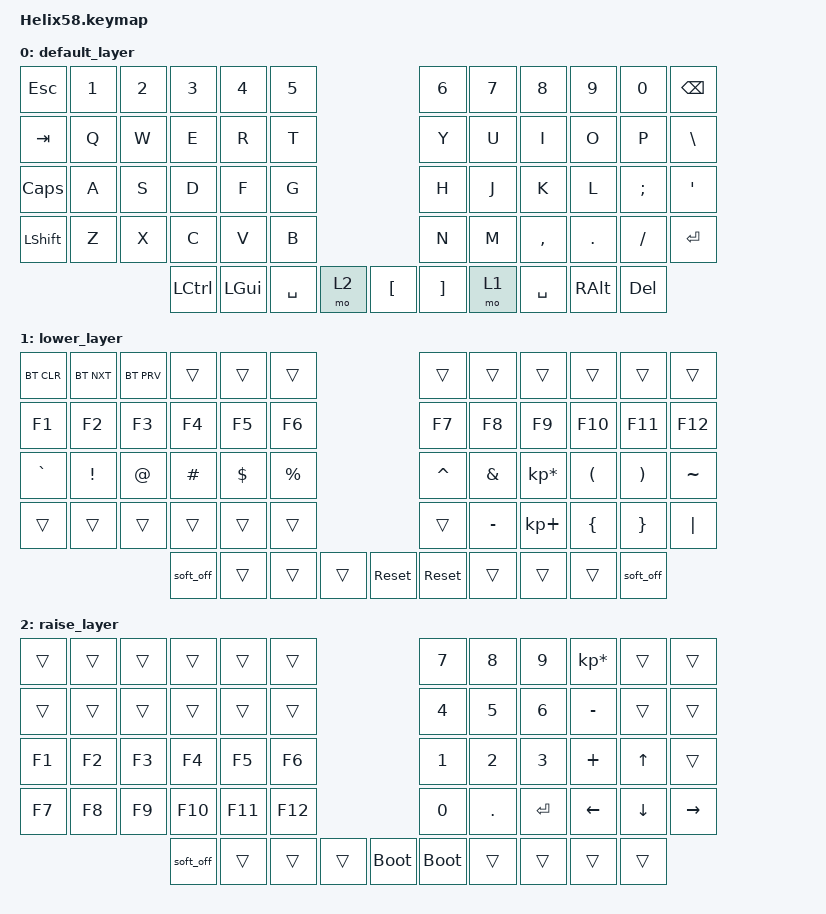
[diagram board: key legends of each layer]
#include <behaviors.dtsi>
#include <dt-bindings/zmk/keys.h>
#include <dt-bindings/zmk/bt.h>
#define DEFAULT 0
#define LOWER   1
#define RAISE   2


/ {
    keymap {
        compatible = "zmk,keymap";

        default_layer {
// ------------------------------------------------------------------------------------------------------------
// |  ESC  |  1  |  2  |  3   |  4   |  5   |                   |  6   |  7    |  8    |  9   |   0   |  BSPC |
// |  TAB  |  Q  |  W  |  E   |  R   |  T   |                   |  Y   |  U    |  I    |  O   |   P   |   \   |
// |  CAPS |  A  |  S  |  D   |  F   |  G   |                   |  H   |  J    |  K    |  L   |   ;   |   '   |
// | SHIFT |  Z  |  X  |  C   |  V   |  B   |   "["  |  |  "]"  |  N   |  M    |  ,    |  .   |   /   | ENTER |
//                     | CTRL | GUI  | SPACE|  LOWER |  | RAISE | SPACE| RALT  | DEL   |
            bindings = <
&kp ESC      &kp N1    &kp N2   &kp N3    &kp N4   &kp N5                                           &kp N6 &kp N7   &kp N8     &kp N9   &kp N0   &kp BSPC
&kp TAB      &kp Q     &kp W    &kp E     &kp R    &kp T                                            &kp Y  &kp U    &kp I      &kp O    &kp P    &kp BSLH
&kp CAPSLOCK &kp A     &kp S    &kp D     &kp F    &kp G                                            &kp H  &kp J    &kp K      &kp L    &kp SEMI &kp SQT
&kp LSHFT    &kp Z     &kp X    &kp C     &kp V    &kp B                                            &kp N  &kp M    &kp COMMA  &kp DOT  &kp FSLH &kp RET
                                &kp LCTRL &kp LGUI &kp SPACE  &mo 2    &kp LBKT &kp RBKT    &mo 1   &kp SPACE  &kp RALT &kp DEL
            >;
        };
        lower_layer {
// ------------------------------------------------------------------------------------------------------------
// | BTCLR |BTNXT|BTPRV|       |      |      |                   |      |       |       |      |       |       |
// |  F1   |  F2 |  F3 |  F4   |  F5  |  F6  |                   |  F7  |  F8   |  F9   |  F10 |  F11  |  F12  |
// |   `   |  !  |  @  |  #    |  $   |  %   |                   |  ^   |  &    |  *    |  (   |   )   |   ~   |
// |       |     |     |       |      |      |   RESET|  |RESET  |      |  _    |  +    |  {   |   }   |  "|"  |
//                     |SOFTOFF|      |      |        |  |       |      |       |SOFTOFF|
        bindings = <
&bt BT_CLR &bt BT_NXT       &bt BT_PRV        &trans            &trans       &trans                                                   &trans      &trans     &trans           &trans    &trans    &trans
&kp F1     &kp F2           &kp F3            &kp F4            &kp F5       &kp F6                                                   &kp F7      &kp F8     &kp F9           &kp F10   &kp F11   &kp F12
&kp GRAVE  &kp EXCL         &kp AT            &kp HASH          &kp DOLLAR   &kp PRCNT                                                &kp CARET   &kp AMPS   &kp KP_MULTIPLY  &kp LPAR  &kp RPAR  &kp TILDE
&trans     &trans           &trans            &trans            &trans       &trans                                                   &trans      &kp MINUS  &kp KP_PLUS      &kp LBRC  &kp RBRC  &kp PIPE
                                              &soft_off         &trans       &trans  &trans       &sys_reset  &sys_reset       &trans &trans      &trans     &soft_off
            >;
        };
        raise_layer {
// ------------------------------------------------------------------------------------------------------------
// |       |     |     |       |      |      |                   |   7  |   8   |   9   |   *  |       |        |
// |       |     |     |       |      |      |                   |   4  |   5   |   6   |   -  |       |        |
// |   F1  |  F2 |  F3 |  F4   |  F5  |  F6  |                   |   1  |   2   |   3   |   +  |   ^   |        |
// |   F7  |  F8 |  F9 |  F10  |  F11 |  F12 |  BOOT  |  | BOOT  |   0  |   .   |  ENTER|  <-  |   v   |   ->   |
//                     |SOFTOFF|      |      |        |  |       |      |       |       |
            bindings = <
&trans    &trans &trans &trans  &trans  &trans                                                &kp N7      &kp N8    &kp N9    &kp KP_ASTERISK   &trans    &trans
&trans    &trans &trans &trans  &trans  &trans                                                &kp N4      &kp N5    &kp N6    &kp MINUS         &trans    &trans
&kp F1    &kp F2 &kp F3 &kp F4  &kp F5  &kp F6                                                &kp N1      &kp N2    &kp N3    &kp PLUS          &kp UP    &trans
&kp F7    &kp F8 &kp F9 &kp F10 &kp F11 &kp F12                                               &kp N0      &kp DOT   &kp RET    &kp LEFT          &kp DOWN  &kp RIGHT
                        &soft_off  &trans  &trans    &trans &bootloader   &bootloader  &trans    &trans      &trans    &trans
            >;
        };
    };
};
